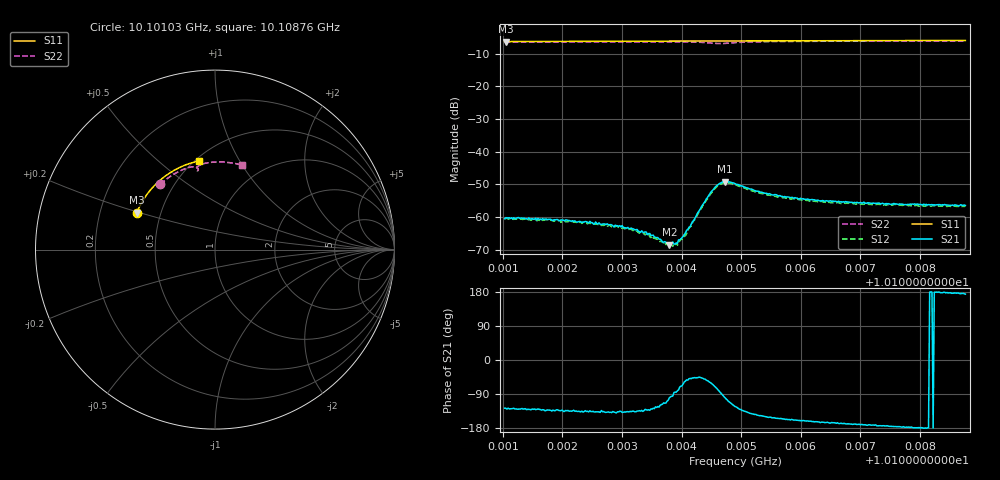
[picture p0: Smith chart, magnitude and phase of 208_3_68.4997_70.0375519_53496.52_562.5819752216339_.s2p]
#  HZ  S  RI  R  50.00
! Rohde & Schwarz Vector Network Analyzer
! Rohde-Schwarz,ZNB20-2Port,1311601062101988,3.16
! Created: UTC 3/20/2024, 4:57:55 PM
! freq[Hz]  re:S11  im:S11  re:S21  im:S21  re:S12  im:S12  re:S22  im:S22
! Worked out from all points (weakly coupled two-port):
!   401 points, 10.10103 GHz to 10.10876 GHz, reference 50 ohm
!   highest |S21| = -49.20 dB at 10.10472 GHz (marker M1); lowest = -68.6 dB at 10.1038 GHz (marker M2)
!   lowest |S11| = -6.3 dB at 10.10105 GHz (marker M3), VSWR 2.86, Z = 18.2 + j9.8 ohm
!   |S11| at or under -10 dB: nowhere
!   |S22| runs from -6.9 to -6.1 dB; largest |S21 - S12| = 0.00036
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1.010103e10  -0.4361 0.2052  -0.000567 -0.000746  -0.000506 -0.000774  -0.3041 0.3643
1.010105e10  -0.4356 0.2062  -0.000589 -0.000773  -0.000508 -0.000798  -0.3032 0.3652
1.0101765e10  -0.4172 0.2459  -0.000611 -0.00068  -0.00053 -0.000707  -0.2675 0.3947
1.0102326e10  -0.4004 0.2755  -0.000584 -0.000583  -0.000514 -0.000603  -0.237 0.4155
1.0102945e10  -0.3797 0.3068  -0.000521 -0.00049  -0.000471 -0.000504  -0.2014 0.4355
1.010337e10  -0.3638 0.3272  -0.0004 -0.000421  -0.000325 -0.00044  -0.1753 0.4474
1.0103621e10  -0.354 0.3389  -0.000257 -0.000377  -0.000201 -0.000368  -0.1587 0.4536
1.0103795e10  -0.3469 0.3467  -6.39e-05 -0.000368  -7.1e-05 -0.000355  -0.1465 0.4571
1.0103892e10  -0.3428 0.3511  3.5e-05 -0.000383  6.53e-05 -0.000364  -0.1394 0.4588
1.0103969e10  -0.3397 0.3545  0.000142 -0.000422  0.000144 -0.0004  -0.1336 0.46
1.0104047e10  -0.3365 0.3579  0.000286 -0.000455  0.000272 -0.000427  -0.1276 0.4608
1.0104182e10  -0.3306 0.3637  0.000569 -0.000618  0.000576 -0.000557  -0.1164 0.461
1.0104337e10  -0.3239 0.3702  0.000974 -0.00106  0.00101 -0.00092  -0.1032 0.458
1.0104511e10  -0.3161 0.3774  0.00114 -0.00221  0.00125 -0.00205  -0.0931 0.4473
1.0104608e10  -0.3119 0.3812  0.000643 -0.00301  0.000876 -0.00285  -0.0944 0.4408
1.0104724e10  -0.3065 0.3859  -0.000551 -0.00342  -0.000222 -0.00329  -0.101 0.4405
1.0104898e10  -0.2985 0.3927  -0.00174 -0.00272  -0.00144 -0.00276  -0.1025 0.4531
1.010542e10  -0.2737 0.4122  -0.00198 -0.00116  -0.0018 -0.00128  -0.0691 0.4769
1.0105806e10  -0.2544 0.4254  -0.00184 -0.000781  -0.00166 -0.00089  -0.0421 0.4836
1.0106193e10  -0.2345 0.4378  -0.00176 -0.00055  -0.00161 -0.000659  -0.0161 0.487
1.0107489e10  -0.164 0.4717  -0.00157 -0.000137  -0.00149 -0.000307  0.0686 0.4864
1.0108765e10  -0.09 0.4936  -0.00149 0.000161  -0.00145 -2.01e-05  0.1488 0.471
